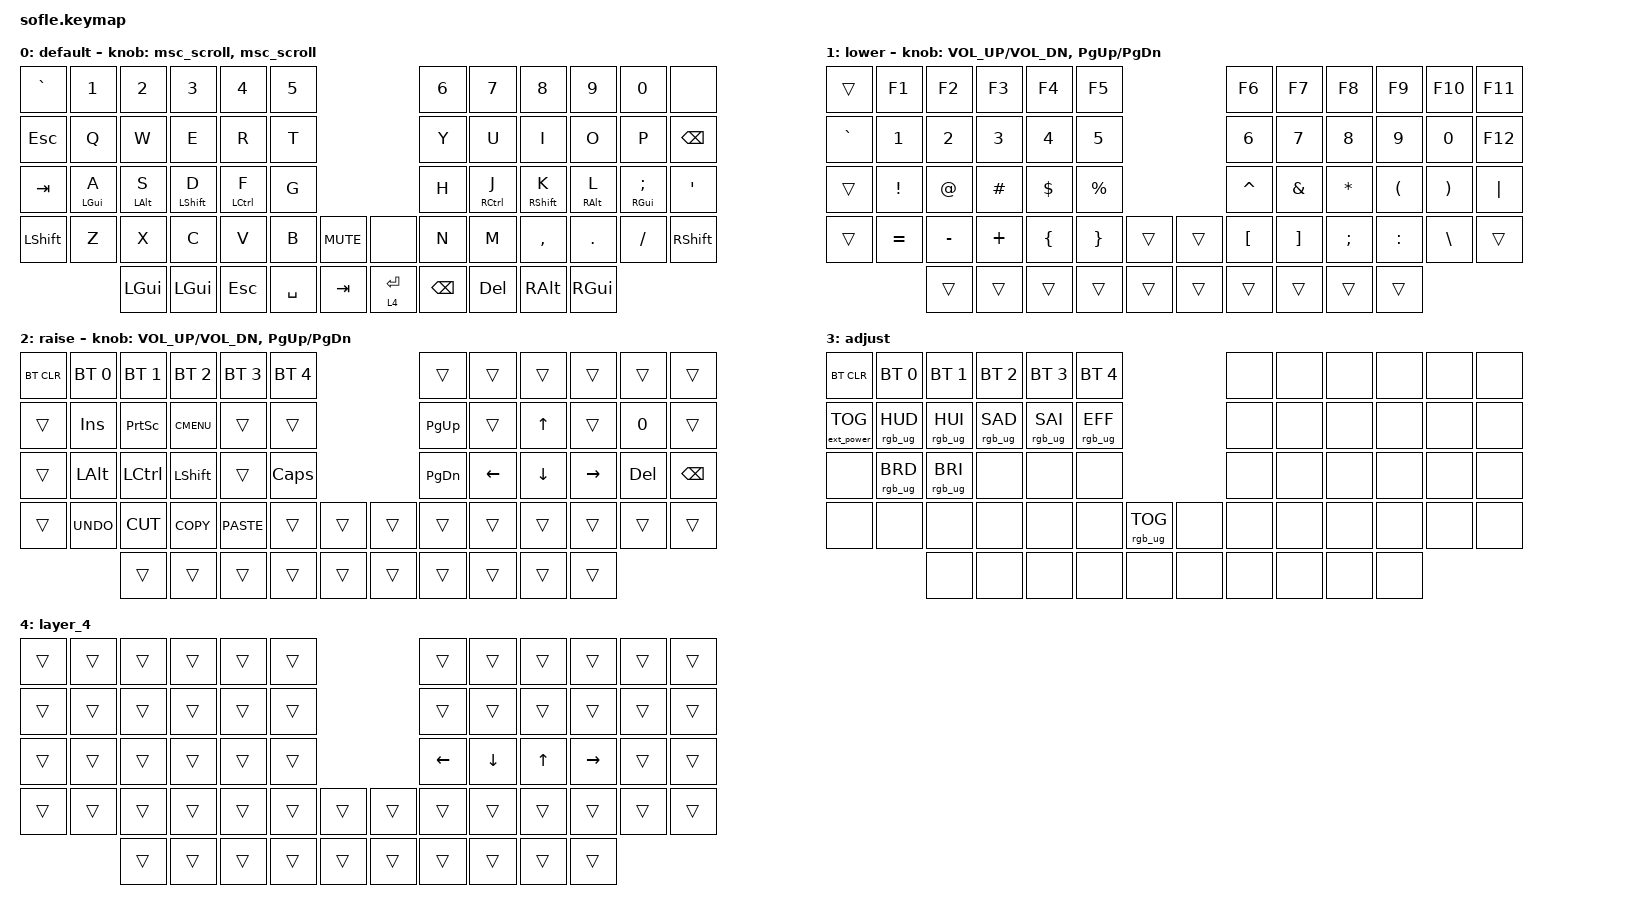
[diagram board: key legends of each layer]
/*
 * Copyright (c) 2020 The ZMK Contributors
 *
 * SPDX-License-Identifier: MIT
 */

#include <behaviors.dtsi>
#include <dt-bindings/zmk/bt.h>
#include <dt-bindings/zmk/ext_power.h>
#include <dt-bindings/zmk/keys.h>
#include <dt-bindings/zmk/rgb.h>
#include <dt-bindings/zmk/pointing.h>

#define BASE 0
#define LOWER 1
#define RAISE 2
#define ADJUST 3

/ {
    // Activate ADJUST layer by pressing raise and lower

    conditional_layers {
        compatible = "zmk,conditional-layers";

        adjust_layer {
            if-layers = <LOWER RAISE>;
            then-layer = <ADJUST>;
        };
    };

    behaviors {
        msc_scroll: msc_scroll {
            compatible = "zmk,behavior-sensor-rotate";
            label = "MSC_SCROLL";
            #sensor-binding-cells = <0>;
            bindings = <&msc SCRL_UP>, <&msc SCRL_DOWN>;

            tap-ms = <120>;
        };
    };

    keymap {
        compatible = "zmk,keymap";

        default_layer {
            display-name = "default";

            // ------------------------------------------------------------------------------------------------------------
            // |   `   |  1  |  2  |  3   |  4   |  5   |                   |  6   |  7    |  8    |  9   |   0   |       |
            // |  ESC  |  Q  |  W  |  E   |  R   |  T   |                   |  Y   |  U    |  I    |  O   |   P   | BKSPC |
            // |  TAB  |  A  |  S  |  D   |  F   |  G   |                   |  H   |  J    |  K    |  L   |   ;   |   '   |
            // | SHIFT |  Z  |  X  |  C   |  V   |  B   |  MUTE  |  |       |  N   |  M    |  ,    |  .   |   /   | SHIFT |
            //               | GUI | ALT  | CTRL | LOWER|  ENTER |  | SPACE | RAISE| CTRL  | ALT   | GUI  |

            bindings = <
&kp GRAVE  &kp N1          &kp N2          &kp N3            &kp N4              &kp N5                                &kp N6         &kp N7               &kp N8             &kp N9           &kp N0         &none
&kp ESC    &kp Q           &kp W           &kp E             &kp R               &kp T                                 &kp Y          &kp U                &kp I              &kp O            &kp P          &kp BSPC
&kp TAB    &mt LEFT_GUI A  &mt LEFT_ALT S  &mt LEFT_SHIFT D  &mt LEFT_CONTROL F  &kp G                                 &kp H          &mt RIGHT_CONTROL J  &mt RIGHT_SHIFT K  &mt RIGHT_ALT L  &mt RGUI SEMI  &kp SQT
&kp LSHFT  &kp Z           &kp X           &kp C             &kp V               &kp B      &kp C_MUTE    &none        &kp N          &kp M                &kp COMMA          &kp DOT          &kp FSLH       &kp RSHFT
                           &kp LGUI        &kp LEFT_GUI      &kp ESC             &kp SPACE  &kp TAB       &lt 4 ENTER  &kp BACKSPACE  &kp DELETE           &kp RALT           &kp RGUI
            >;

            sensor-bindings =
                <&msc_scroll>,
                <&msc_scroll>;
        };

        lower_layer {
            display-name = "lower";

            // TODO: Some binds are waiting for shifted keycode support.
            // ------------------------------------------------------------------------------------------------------------
            // |       |  F1 |  F2 |  F3  |  F4  |  F5  |                   |  F6  |  F7   |  F8   |  F9  |  F10  |  F11  |
            // |   `   |  1  |  2  |  3   |  4   |  5   |                   |  6   |  7    |  8    |  9   |   0   |  F12  |
            // |       |  !  |  @  |  #   |  $   |  %   |                   |  ^   |  &    |  *    |  (   |   )   |   |   |
            // |       |  =  |  -  |  +   |  {   |  }   |        |  |       |  [   |  ]    |  ;    |  :   |   \   |       |
            //               |     |      |      |      |        |  |       |      |       |       |      |

            bindings = <
&trans     &kp F1     &kp F2     &kp F3    &kp F4    &kp F5                       &kp F6     &kp F7    &kp F8     &kp F9     &kp F10   &kp F11
&kp GRAVE  &kp N1     &kp N2     &kp N3    &kp N4    &kp N5                       &kp N6     &kp N7    &kp N8     &kp N9     &kp N0    &kp F12
&trans     &kp EXCL   &kp AT     &kp HASH  &kp DLLR  &kp PRCNT                    &kp CARET  &kp AMPS  &kp ASTRK  &kp LPAR   &kp RPAR  &kp PIPE
&trans     &kp EQUAL  &kp MINUS  &kp PLUS  &kp LBRC  &kp RBRC   &trans    &trans  &kp LBKT   &kp RBKT  &kp SEMI   &kp COLON  &kp BSLH  &trans
                      &trans     &trans    &trans    &trans     &trans    &trans  &trans     &trans    &trans     &trans
            >;

            sensor-bindings = <&inc_dec_kp C_VOL_UP C_VOL_DN &inc_dec_kp PG_UP PG_DN>;
        };

        raise_layer {
            display-name = "raise";

            // ------------------------------------------------------------------------------------------------------------
            // | BTCLR | BT1  | BT2  |  BT3  |  BT4  |  BT5 |                |      |      |       |      |       |       |
            // |       | INS  | PSCR | GUI   |       |      |                | PGUP |      |   ^   |      |       |       |
            // |       | ALT  | CTRL | SHIFT |       | CAPS |                | PGDN |   <- |   v   |  ->  |  DEL  | BKSPC |
            // |       | UNDO | CUT  | COPY  | PASTE |      |      |  |      |      |      |       |      |       |       |
            //                |      |       |       |      |      |  |      |      |      |       |      |

            bindings = <
&bt BT_CLR  &bt BT_SEL 0  &bt BT_SEL 1  &bt BT_SEL 2  &bt BT_SEL 3  &bt BT_SEL 4                    &trans     &trans    &trans    &trans     &trans   &trans
&trans      &kp INS       &kp PSCRN     &kp K_CMENU   &trans        &trans                          &kp PG_UP  &trans    &kp UP    &trans     &kp N0   &trans
&trans      &kp LALT      &kp LCTRL     &kp LSHFT     &trans        &kp CLCK                        &kp PG_DN  &kp LEFT  &kp DOWN  &kp RIGHT  &kp DEL  &kp BSPC
&trans      &kp K_UNDO    &kp K_CUT     &kp K_COPY    &kp K_PASTE   &trans        &trans    &trans  &trans     &trans    &trans    &trans     &trans   &trans
                          &trans        &trans        &trans        &trans        &trans    &trans  &trans     &trans    &trans    &trans
            >;

            sensor-bindings = <&inc_dec_kp C_VOL_UP C_VOL_DN &inc_dec_kp PG_UP PG_DN>;
        };

        adjust_layer {
            // ----------------------------------------------------------------------------------------------------------------------------
            // | BTCLR  |  BT1    |  BT2    |   BT3   |   BT4   |   BT5   |                  |      |      |       |      |       |       |
            // | EXTPWR | RGB_HUD | RGB_HUI | RGB_SAD | RGB_SAI | RGB_EFF |                  |      |      |       |      |       |       |
            // |        | RGB_BRD | RGB_BRI |         |         |         |                  |      |      |       |      |       |       |
            // |        |         |         |         |         |         | RGB_TOG | |      |      |      |       |      |       |       |
            //                    |         |         |         |         |         | |      |      |      |       |      |

            display-name = "adjust";
            bindings = <
&bt BT_CLR         &bt BT_SEL 0     &bt BT_SEL 1     &bt BT_SEL 2     &bt BT_SEL 3     &bt BT_SEL 4                               &none  &none  &none  &none  &none  &none
&ext_power EP_TOG  &rgb_ug RGB_HUD  &rgb_ug RGB_HUI  &rgb_ug RGB_SAD  &rgb_ug RGB_SAI  &rgb_ug RGB_EFF                            &none  &none  &none  &none  &none  &none
&none              &rgb_ug RGB_BRD  &rgb_ug RGB_BRI  &none            &none            &none                                      &none  &none  &none  &none  &none  &none
&none              &none            &none            &none            &none            &none            &rgb_ug RGB_TOG    &none  &none  &none  &none  &none  &none  &none
                                    &none            &none            &none            &none            &none              &none  &none  &none  &none  &none
            >;
        };

        layer_4 {
            bindings = <
&trans  &trans  &trans  &trans  &trans  &trans                    &trans    &trans          &trans        &trans     &trans  &trans
&trans  &trans  &trans  &trans  &trans  &trans                    &trans    &trans          &trans        &trans     &trans  &trans
&trans  &trans  &trans  &trans  &trans  &trans                    &kp LEFT  &kp DOWN_ARROW  &kp UP_ARROW  &kp RIGHT  &trans  &trans
&trans  &trans  &trans  &trans  &trans  &trans  &trans    &trans  &trans    &trans          &trans        &trans     &trans  &trans
                &trans  &trans  &trans  &trans  &trans    &trans  &trans    &trans          &trans        &trans
            >;
        };
    };
};
